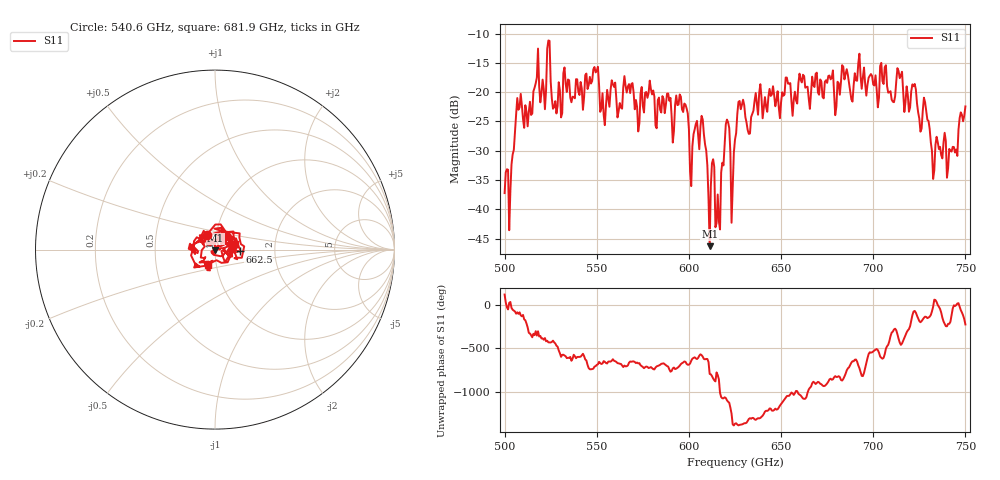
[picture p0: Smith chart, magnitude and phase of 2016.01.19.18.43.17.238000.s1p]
!Created with skrf (http://scikit-rf.org).
# GHz S RI R 50.0
!freq ReS11 ImS11
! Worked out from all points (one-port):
!   401 points, 500 GHz to 750 GHz, reference 50 ohm
!   lowest |S11| = -46.3 dB at 611.2 GHz (marker M1), VSWR 1.01, Z = 50.1 - j0.472 ohm
!   |S11| at or under -10 dB: start of sweep to end of sweep
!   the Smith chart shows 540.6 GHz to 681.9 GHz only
!   S11 on the Smith chart (normalised r, x): 540.6 GHz: 0.90, +0.15; 662.5 GHz: 1.32, -0.03; 681.9 GHz: 0.91, -0.16
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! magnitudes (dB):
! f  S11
! 500 GHz  -37.3
! 503.8 GHz  -32.3
! 507.5 GHz  -23.0
! 523.8 GHz  -11.2
! 526.9 GHz  -22.6
! 531.2 GHz  -23.6
! 540.6 GHz  -20.5
! 549.4 GHz  -16.6
! 553.1 GHz  -20.2
! 562.5 GHz  -21.9
! 593.8 GHz  -22.2
! 601.2 GHz  -36.1
! 607.5 GHz  -24.7
! 611.2 GHz  -46.3
! 615.6 GHz  -37.5
! 620.6 GHz  -24.7
! 623.1 GHz  -42.3
! 625 GHz  -28.1
! 628.1 GHz  -22.9
! 656.2 GHz  -24.0
! 662.5 GHz  -17.3
! 681.9 GHz  -20.4
! 687.5 GHz  -19.9
! 714.4 GHz  -17.6
! 718.8 GHz  -20.5
! 728.8 GHz  -23.2
! 732.5 GHz  -34.8
! 750 GHz  -22.5
